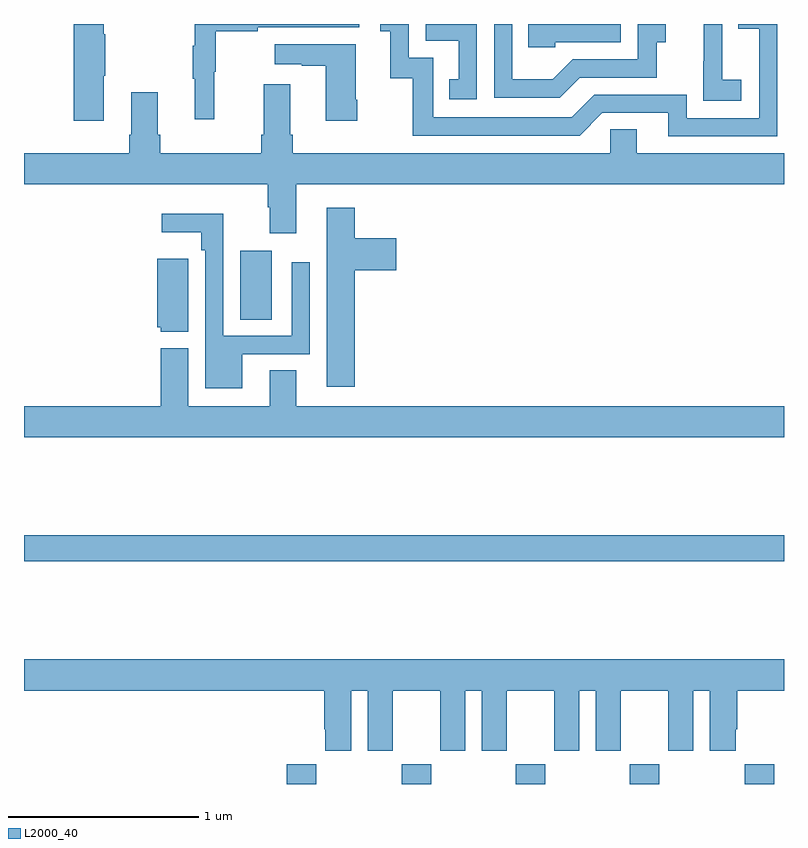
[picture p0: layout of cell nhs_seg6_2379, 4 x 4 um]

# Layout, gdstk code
import gdstk
lib = gdstk.Library(unit=1e-6, precision=1e-09)
def R(c, l, rs):  # rectangles x0, y0, x1, y1
    for r in rs: c.add(gdstk.rectangle(r[:2], r[2:], *l))
def A(c, l, x, y, w, h, nx, ny, dx, dy):  # array of equal rectangles
    R(c, l, [(x+i*dx, y+j*dy, x+i*dx+w, y+j*dy+h) for i in range(nx) for j in range(ny)])
def P(c, l, *ps):  # polygons
    for p in ps: c.add(gdstk.Polygon(p, *l))
L2000_40 = (2000, 40)

nhs_seg6_2379 = lib.new_cell('nhs_seg6_2379')
A(nhs_seg6_2379, L2000_40, 254.989, 957.5, 0.155, 0.104, 3, 1, 0.6, 0)
R(nhs_seg6_2379, L2000_40, [(254.384,957.5,254.539,957.604), (256.793,957.5,256.949,957.604), (253,958.672,257,958.808), (254.138,959.944,254.305,960.307)])
P(nhs_seg6_2379, L2000_40, [(256.965,961.5),(256.759,961.5),(256.759,961.474),(256.869,961.474),(256.869,961.005),(256.488,961.005),(256.488,961.128),(256.002,961.128),(255.882,961.008),(255.153,961.008),(255.153,961.323),(255.024,961.323),(255.024,961.5),(254.874,961.5),(254.874,961.461),(254.927,961.461),(254.927,961.215),(255.045,961.215),(255.045,960.912),(255.924,960.912),(256.044,961.032),(256.391,961.032),(256.391,960.909),(256.965,960.909)],
  [(255.925,961.218),(256.329,961.218),(256.329,961.403),(256.378,961.403),(256.378,961.5),(256.23,961.5),(256.23,961.314),(255.888,961.314),(255.784,961.21),(255.57,961.21),(255.57,961.5),(255.474,961.5),(255.474,961.113),(255.82,961.113)],
  [(253.42,961.228),(253.428,961.228),(253.428,961.445),(253.42,961.445),(253.42,961.5),(253.262,961.5),(253.262,960.99),(253.42,960.99)],
  [(255.384,961.5),(255.114,961.5),(255.114,961.413),(255.287,961.413),(255.287,961.209),(255.238,961.209),(255.238,961.104),(255.384,961.104)],
  [(256.774,961.207),(256.676,961.207),(256.676,961.436),(256.674,961.436),(256.674,961.5),(256.577,961.5),(256.577,961.303),(256.576,961.303),(256.576,961.097),(256.774,961.097)],
  [(255.795,961.404),(256.14,961.404),(256.14,961.5),(255.655,961.5),(255.655,961.377),(255.795,961.377)],
  [(254,961.248),(254.008,961.248),(254.008,961.462),(254.231,961.462),(254.231,961.482),(254.764,961.482),(254.764,961.5),(253.898,961.5),(253.898,961.385),(253.887,961.385),(253.887,961.211),(253.898,961.211),(253.898,960.999),(254,960.999)],
  [(254.754,961.102),(254.746,961.102),(254.746,961.393),(254.319,961.393),(254.319,961.289),(254.462,961.289),(254.462,961.279),(254.588,961.279),(254.588,960.99),(254.754,960.99)],
  [(254.434,960.656),(257,960.656),(257,960.82),(256.225,960.82),(256.225,960.947),(256.086,960.947),(256.086,960.82),(254.414,960.82),(254.414,960.916),(254.401,960.916),(254.401,961.183),(254.261,961.183),(254.261,960.916),(254.249,960.916),(254.249,960.82),(253.718,960.82),(253.718,960.916),(253.705,960.916),(253.705,961.141),(253.565,961.141),(253.565,960.916),(253.553,960.916),(253.553,960.82),(253,960.82),(253,960.656),(254.282,960.656),(254.282,960.536),(254.294,960.536),(254.294,960.399),(254.434,960.399)],
  [(254.741,960.203),(254.959,960.203),(254.959,960.373),(254.741,960.373),(254.741,960.532),(254.594,960.532),(254.594,959.592),(254.741,959.592)],
  [(254.149,959.763),(254.505,959.763),(254.505,960.247),(254.409,960.247),(254.409,959.859),(254.049,959.859),(254.049,960.502),(253.725,960.502),(253.725,960.404),(253.933,960.404),(253.933,960.308),(253.953,960.308),(253.953,959.582),(254.149,959.582)],
  [(253.864,960.265),(253.7,960.265),(253.7,959.904),(253.719,959.904),(253.719,959.879),(253.864,959.879)],
  [(257,959.488),(254.434,959.488),(254.434,959.678),(254.294,959.678),(254.294,959.488),(253.864,959.488),(253.864,959.794),(253.721,959.794),(253.721,959.488),(253,959.488),(253,959.324),(257,959.324)],
  [(254.722,957.992),(254.81,957.992),(254.81,957.675),(254.941,957.675),(254.941,957.992),(255.191,957.992),(255.191,957.675),(255.322,957.675),(255.322,957.992),(255.41,957.992),(255.41,957.675),(255.541,957.675),(255.541,957.992),(255.791,957.992),(255.791,957.675),(255.922,957.675),(255.922,957.992),(256.01,957.992),(256.01,957.675),(256.141,957.675),(256.141,957.992),(256.391,957.992),(256.391,957.675),(256.522,957.675),(256.522,957.992),(256.61,957.992),(256.61,957.675),(256.747,957.675),(256.747,957.787),(256.754,957.787),(256.754,957.992),(257,957.992),(257,958.156),(253,958.156),(253,957.992),(254.579,957.992),(254.579,957.787),(254.585,957.787),(254.585,957.675),(254.722,957.675)])

lib.write_gds('nhs_seg6_2379.gds')
